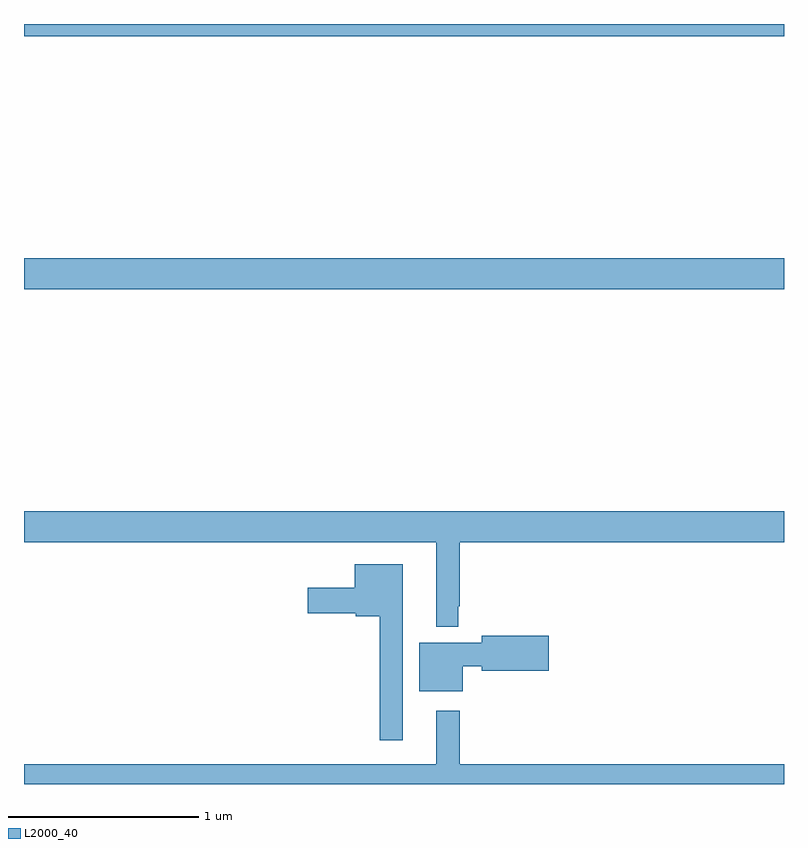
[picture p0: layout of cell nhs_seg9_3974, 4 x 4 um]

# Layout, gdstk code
import gdstk
lib = gdstk.Library(unit=1e-6, precision=1e-09)
def R(c, l, rs):  # rectangles x0, y0, x1, y1
    for r in rs: c.add(gdstk.rectangle(r[:2], r[2:], *l))
def P(c, l, *ps):  # polygons
    for p in ps: c.add(gdstk.Polygon(p, *l))
L2000_40 = (2000, 40)

nhs_seg9_3974 = lib.new_cell('nhs_seg9_3974')
R(nhs_seg9_3974, L2000_40, [(339,1179.104,343,1179.268), (339,1180.436,343,1180.5)])
P(nhs_seg9_3974, L2000_40, [(341.286,1177.435),(341.293,1177.435),(341.293,1177.772),(343,1177.772),(343,1177.936),(339,1177.936),(339,1177.772),(341.171,1177.772),(341.171,1177.328),(341.286,1177.328)],
  [(340.993,1177.657),(340.742,1177.657),(340.742,1177.534),(340.494,1177.534),(340.494,1177.4),(340.746,1177.4),(340.746,1177.382),(340.872,1177.382),(340.872,1176.729),(340.993,1176.729)],
  [(341.308,1177.12),(341.408,1177.12),(341.408,1177.097),(341.761,1177.097),(341.761,1177.28),(341.408,1177.28),(341.408,1177.243),(341.081,1177.243),(341.081,1176.989),(341.308,1176.989)],
  [(343,1176.604),(341.293,1176.604),(341.293,1176.886),(341.171,1176.886),(341.171,1176.604),(339,1176.604),(339,1176.5),(343,1176.5)])

lib.write_gds('nhs_seg9_3974.gds')
